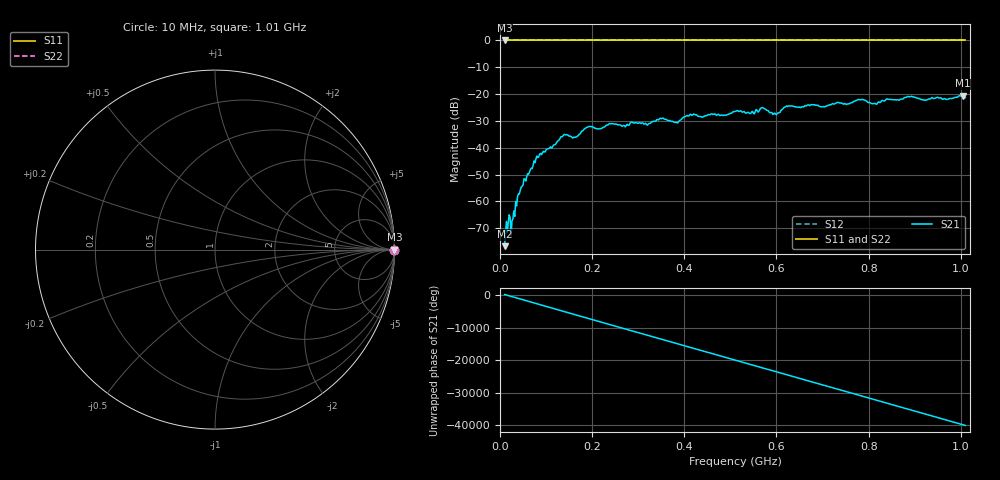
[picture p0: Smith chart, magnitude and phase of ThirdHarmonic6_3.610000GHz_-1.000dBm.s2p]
! 8/17/2025 12:03:34 PM
! C:\ANRITSUVNA\TEMP\TEMP.S2P
! CHANNEL.1
! TR.MEASUREMENT
! RAW.DATA
! RF.CORRECTION.OFF
! AVERAGING.OFF
! IF.BANDWIDTH: 5KHZ
! SWEEPTYPE:  FREQ.SWEEP(Linear)
! Reference Plane Port Info
! PORT:  PORT1  PORT2
! DISTANCE:  0  m  0  m
! TIME:  0  s  0  s
! PHASE.OFFSET:  0  deg.  0  deg.
! LOSS:  0  dB  0  dB
! REF.LOSS:  0  dB  0  dB
! REF.FREQ:  0  Hz  0  Hz
! Power Info
! POWER:  -20  dBm  -20  dBm
! EFF.POWER:  -20  dBm  -20  dBm
! SOURCE.ATTEN:  0  dB  0  dB
! TEST.ATTEN:  0  dB  0  dB
# GHZ S RI R 50.0
! FREQ.GHZ  S11RE  S11IM  S21RE  S21IM  S12RE  S12IM  S22RE  S22IM
!; PortSelection: Port_12
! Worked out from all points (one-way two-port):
!   501 points, 10 MHz to 1.01 GHz, reference 50 ohm
!   highest |S21| = -20.55 dB at 1.004 GHz (marker M1); lowest = -76.7 dB at 10 MHz (marker M2)
!   lowest |S11| = 0.0 dB at 10 MHz (marker M3)
!   |S11| at or under -10 dB: nowhere
!   |S22| runs from 0.0 to 0.0 dB; largest |S21 - S12| = 1.1
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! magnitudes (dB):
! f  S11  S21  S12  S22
! 10 MHz  0.0  -76.7  0.0  0.0
! 18 MHz  0.0  -67.6  0.0  0.0
! 28 MHz  0.0  -66.4  0.0  0.0
! 42 MHz  0.0  -57.2  0.0  0.0
! 78 MHz  0.0  -44.1  0.0  0.0
! 136 MHz  0.0  -35.7  0.0  0.0
! 162 MHz  0.0  -36.2  0.0  0.0
! 178 MHz  0.0  -33.7  0.0  0.0
! 194 MHz  0.0  -32.0  0.0  0.0
! 322 MHz  0.0  -31.1  0.0  0.0
! 344 MHz  0.0  -29.6  0.0  0.0
! 382 MHz  0.0  -30.5  0.0  0.0
! 416 MHz  0.0  -27.9  0.0  0.0
! 510 MHz  0.0  -26.5  0.0  0.0
! 570 MHz  0.0  -25.0  0.0  0.0
! 596 MHz  0.0  -27.1  0.0  0.0
! 622 MHz  0.0  -24.4  0.0  0.0
! 678 MHz  0.0  -24.0  0.0  0.0
! 814 MHz  0.0  -23.5  0.0  0.0
! 844 MHz  0.0  -22.0  0.0  0.0
! 1.004 GHz  0.0  -20.6  0.0  0.0
! 1.01 GHz  0.0  -21.3  0.0  0.0
